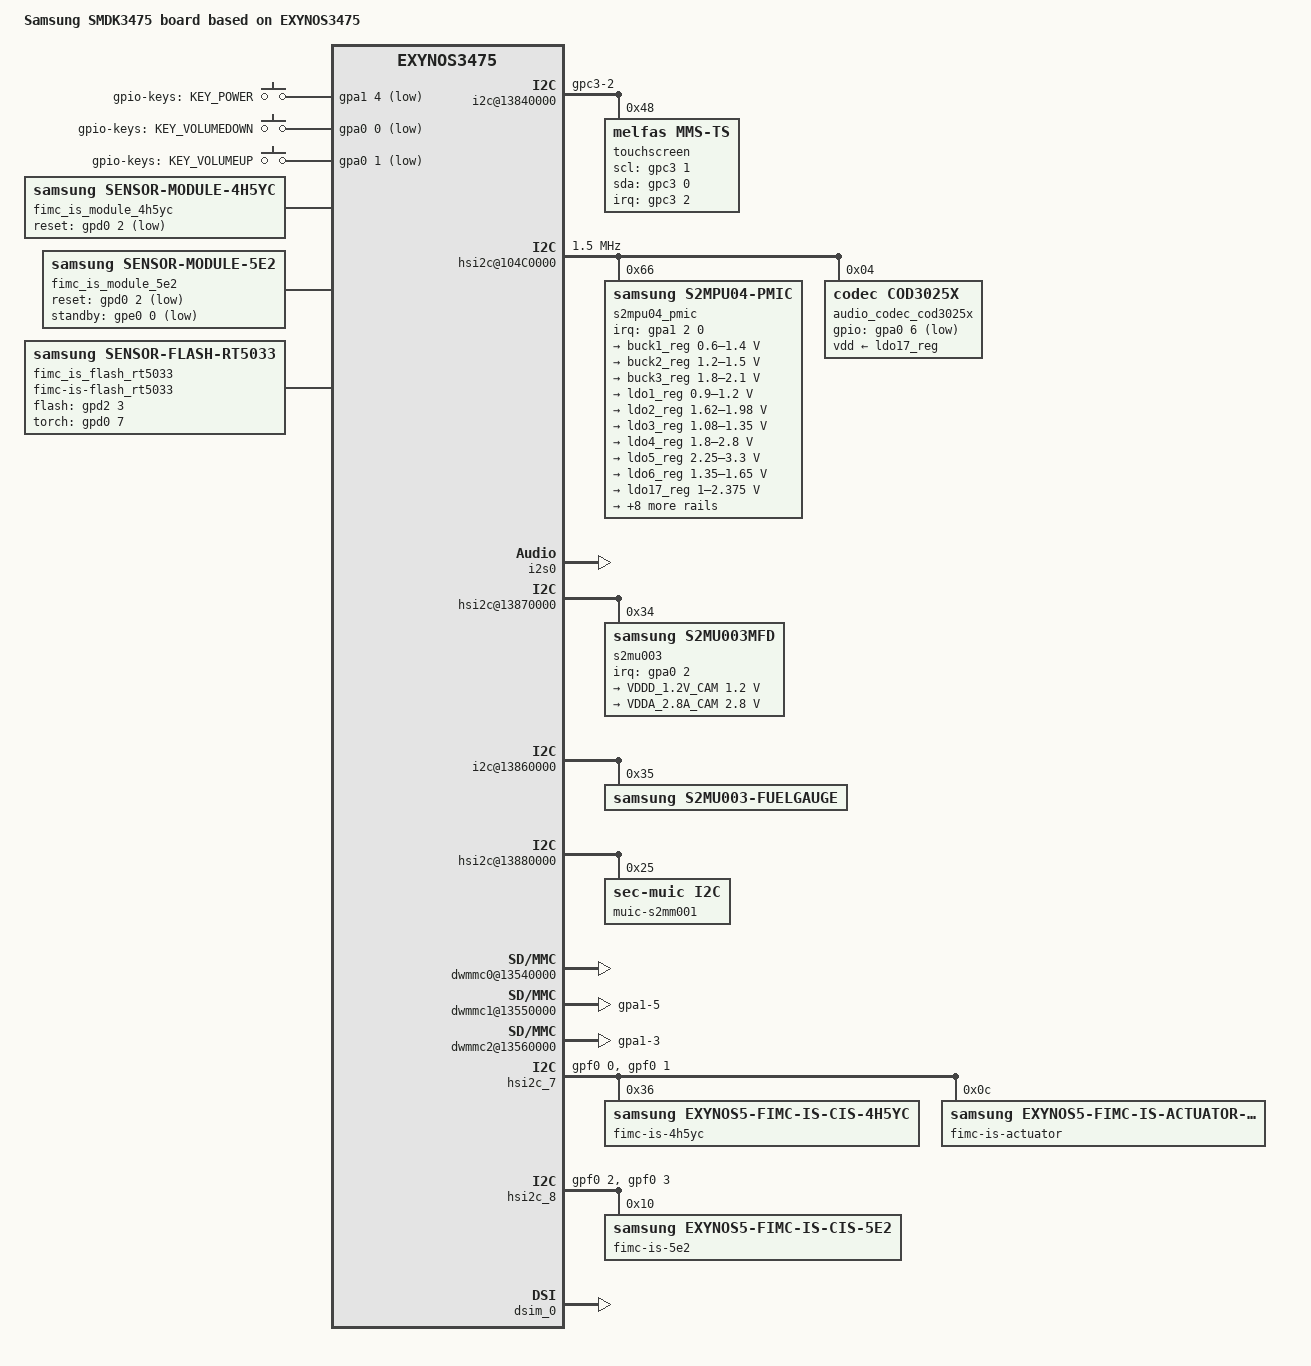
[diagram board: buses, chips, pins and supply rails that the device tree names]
/*
 * SAMSUNG EXYNOS3475 board device tree source
 *
 * Copyright (c) 2013 Samsung Electronics Co., Ltd.
 *		http://www.samsung.com
 *
 * This program is free software; you can redistribute it and/or modify
 * it under the terms of the GNU General Public License version 2 as
 * published by the Free Software Foundation.
*/

/dts-v1/;
#include "exynos3475.dtsi"

/ {
	model = "Samsung SMDK3475 board based on EXYNOS3475";
	compatible = "samsung,SMDK3475", "samsung,exynos3475";

	reserved-memory {
		#address-cells = <1>;
		#size-cells = <1>;
		ranges;

		common {
			compatible = "exynos5433-ion,common";
			reg = <0x4e700000 0x600000>;
			id = <0>;
		};

		video {
			compatible = "exynos5433-ion,video";
			secure;
			reusable;
			reg = <0x32000000 0x5800000>;
			id = <11>;
			compat-id = <4 5 6 7>;
		};

		video_ext {
			compatible = "exynos5433-ion,video_ext";
			secure;
			reusable;
			reg = <0x38000000 0x1400000>;
			id = <1>;
		};

		mfc_fw {
			compatible = "exynos5433-ion,mfc_fw";
			secure;
			reg = <0x30000000 0x200000>;
			id = <8>;
		};

		mfc_nfw {
			compatible = "exynos5433-ion,mfc_nfw";
			reg = <0x31000000 0x100000>;
			id = <12>;
		};
	};

	chosen {
		bootargs = "console=ttySAC2,115200 vmalloc=256M ess_setup=0x26000000";
	};

	fixed-rate-clocks {
		oscclk {
			compatible = "samsung,exynos3475-oscclk";
			clock-frequency = <26000000>;
		};
	};

	pinctrl@138D0000 {
		melfas_irq: melfas-irq {
			samsung,pins = "gpc3-2";
			samsung,pin-pud = <3>;
			samsung,pin-drv = <3>;
		};
	};

	i2c@13840000 {
		samsung,i2c-sda-delay = <100>;
		samsung,i2c-slave-addr = <0x10>;
		samsung,i2c-max-bus-freq = <400000>;
		pinctrl-0 = <&i2c4_bus &melfas_irq>;
		pinctrl-names = "default";
		status = "okay";

		touchscreen@48 {
			compatible = "melfas,mms-ts";

			reg = <0x48>;

			melfas,panel-coords = <0 0 720 1280>;
			melfas,i2c-pull-up; // optional: enable i2c pull-up
			melfas,scl-gpio = <&gpc3 1 0>;
			melfas,sda-gpio = <&gpc3 0 0>;
			melfas,irq-gpio = <&gpc3 2 0>;
		};
	};

	pinctrl@139B0000 {
		pmic_irq: pmic-irq {
			samsung,pins = "gpa1-2";
			samsung,pin-pud = <3>;
			samsung,pin-drv = <3>;
		};

		if_irq: if-irq {
			samsung,pins = "gpa0-2";
			samsung,pin-pud = <3>;
			samsung,pin-drv = <3>;
		};

		cod3025_irq: cod3025-irq {
			samsung,pins = "gpa0-6";
			samsung,pin-pud = <3>;
			samsung,pin-drv = <3>;
		};
	};

	pinctrl@139C0000 {
		/* Warm reset information from AP */
		pm_wrsti: pm-wrsti {
			samsung,pins = "gpd0-1";
			samsung,pin-con-pdn = <3>;
		};
	};

	hsi2c@104C0000 {
		status = "okay";
		samsung,hs-mode;
		clock-frequency = <1500000>;
		samsung,hsi2c-batcher;
		#address-cells = <1>;
		#size-cells = <0>;
		s2mpu04_pmic@66 {
			compatible = "samsung,s2mpu04-pmic";
			reg = <0x66>;
			ten-bit-address;
			interrupts = <2 0 0>;
			interrupt-parent = <&gpa1>;
			pinctrl-names = "default";
			pinctrl-0 = <&pmic_irq &pm_wrsti>;
			/* RTC: wtsr/smpl */
			wtsr_en = <1>; /* enable */
			smpl_en = <1>; /* enable */
			wtsr_timer_val = <3>;   /* 1000ms */
			smpl_timer_val = <4>;   /* 500ms */
			check_jigon = <0>; /* do not check jigon */
			/* RTC: If it's first boot, reset rtc to 1/1/2015 12:00:00(Wed) */
			init_time,sec = <0>;
			init_time,min = <0>;
			init_time,hour = <12>;
			init_time,mday = <1>;
			init_time,mon = <0>;
			init_time,year = <115>;
			init_time,wday = <4>;

			regulators {
				buck1_reg: BUCK1 {
					regulator-name = "vdd_core";
					regulator-min-microvolt = <600000>;
					regulator-max-microvolt = <1400000>;
					regulator-always-on;
					regulator-boot-on;
					regulator-ramp-delay = <12000>;
					regulator-initial-mode = <3>;
					regulator-expected-consumer = <4>;
				};

				buck2_reg: BUCK2 {
					regulator-name = "vdd_lldo";
					regulator-min-microvolt = <1200000>;
					regulator-max-microvolt = <1500000>;
					regulator-always-on;
					regulator-boot-on;
					regulator-ramp-delay = <12000>;
					regulator-initial-mode = <3>;
				};

				buck3_reg: BUCK3 {
					regulator-name = "vdd_mldo";
					regulator-min-microvolt = <1800000>;
					regulator-max-microvolt = <2100000>;
					regulator-always-on;
					regulator-boot-on;
					regulator-ramp-delay = <12000>;
					regulator-initial-mode = <3>;
				};

				ldo1_reg: LDO1 {
					regulator-name = "vdd_ldo1";
					regulator-min-microvolt = <900000>;
					regulator-max-microvolt = <1200000>;
					regulator-always-on;
					regulator-boot-on;
					regulator-initial-mode = <3>;
				};
				ldo2_reg: LDO2 {
					regulator-name = "vdd_ldo2";
					regulator-min-microvolt = <1620000>;
					regulator-max-microvolt = <1980000>;
					regulator-always-on;
					regulator-boot-on;
					regulator-initial-mode = <3>;
				};

				ldo3_reg: LDO3 {
					regulator-name = "vdd_ldo3";
					regulator-min-microvolt = <1080000>;
					regulator-max-microvolt = <1350000>;
					regulator-boot-on;
					regulator-always-on;
					regulator-initial-mode = <3>;
				};

				ldo4_reg: LDO4 {
					regulator-name = "vqmmc";
					regulator-min-microvolt = <1800000>;
					regulator-max-microvolt = <2800000>;
					regulator-boot-on;
					regulator-ramp-delay = <12000>;
					regulator-initial-mode = <1>;
				};

				ldo5_reg: LDO5 {
					regulator-name = "vdd_ldo5";
					regulator-min-microvolt = <2250000>;
					regulator-max-microvolt = <3300000>;
					regulator-boot-on;
					regulator-always-on;
					regulator-initial-mode = <3>;
				};

				ldo6_reg: LDO6 {
					regulator-name = "vdd_ldo6";
					regulator-min-microvolt = <1350000>;
					regulator-max-microvolt = <1650000>;
					regulator-initial-mode = <1>;
				};

				ldo17_reg: LDO17 {
					regulator-name = "vdd_ldo17";
					regulator-min-microvolt = <1000000>;
					regulator-max-microvolt = <2375000>;
					regulator-initial-mode = <1>;
				};

				ldo18_reg: LDO18 {
					regulator-name = "vdd_ldo18";
					regulator-min-microvolt = <1800000>;
					regulator-max-microvolt = <3375000>;
					regulator-always-on;
					regulator-boot-on;
					regulator-initial-mode = <1>;
				};

				ldo19_reg: LDO19 {
					regulator-name = "vdd_ldo19";
					regulator-min-microvolt = <1000000>;
					regulator-max-microvolt = <2375000>;
					regulator-always-on;
					regulator-boot-on;
					regulator-initial-mode = <1>;
				};

				ldo20_reg: LDO20 {
					regulator-name = "vdd_ldo20";
					regulator-min-microvolt = <1800000>;
					regulator-max-microvolt = <3375000>;
					regulator-always-on;
					regulator-boot-on;
					regulator-initial-mode = <1>;
				};

				ldo21_reg: LDO21 {
					regulator-name = "VDDIO_1.8V_CAM";
					regulator-min-microvolt = <1800000>;
					regulator-max-microvolt = <1800000>;
				};

				ldo22_reg: LDO22 {
					regulator-name = "VDDAF_2.8V_CAM";
					regulator-min-microvolt = <2800000>;
					regulator-max-microvolt = <2800000>;
				};

				ldo23_reg: LDO23 {
					regulator-name = "VDD_VTCAM_1V8";
					regulator-min-microvolt = <1800000>;
					regulator-max-microvolt = <1800000>;
					regulator-always-on;
					regulator-boot-on;
					regulator-initial-mode = <1>;
				};

				ldo24_reg: LDO24 {
					regulator-name = "codec_ldo24";
					regulator-min-microvolt = <1000000>;
					regulator-max-microvolt = <2375000>;
					regulator-boot-on;
					regulator-always-on;
					regulator-initial-mode = <1>;
				};

				ldo25_reg: LDO25 {
					regulator-name = "vdd_ldo25";
					regulator-min-microvolt = <1800000>;
					regulator-max-microvolt = <3375000>;
					regulator-initial-mode = <1>;
				};
			};
		};

		audio_codec_cod3025x: cod3025x@04 {
			compatible = "codec,cod3025x";
			reg = <0x04>;
			ten-bit-address;
			vdd-supply = <&ldo17_reg>;
			pinctrl-names = "default";
			pinctrl-0 = <&cod3025_irq>;
			interrupt-parent = <&gpa0>;
			gpios = <&gpa0 6 0xf>;
			mic-bias1-voltage = <3>;
			mic-bias2-voltage = <3>;
			mic-bias-ldo-voltage = <3>;
		};
	};

	s2803x: s2803x@148C0000 {
		pinctrl-names = "default", "idle";
		pinctrl-0 = <&i2s_pmic_bus>;
		pinctrl-1 = <&i2s_pmic_bus_idle>;
		bck-mcko-mode;
		status = "okay";
	};

	i2s0: i2s@148E0000 {
		status = "okay";
	};

	audio_cp_dummy: cp_dummy {
		compatible = "samsung,cp_dummy";
		status = "okay";
	};

	audio_bt_dummy: bt_dummy {
		compatible = "samsung,bt_dummy";
		status = "okay";
	};

	audio_codec_dummy: dummy-codec {
		compatible = "samsung,dummy-codec";
		status = "okay";
	};

	sound {
		compatible = "samsung,smdk3475-cod3025x";
		samsung,audio-cpu = <&i2s0	/* primary */
					&i2s0	/* secondary */
					&audio_cp_dummy
					&audio_bt_dummy>;
		samsung,audio-codec = <&audio_codec_cod3025x
					&audio_codec_cod3025x
					&audio_codec_cod3025x
					&audio_codec_dummy>;
		samsung,auxdev = <&s2803x>;
		status = "okay";
	};

	hsi2c@13870000 {
		status = "okay";
		s2mu003@34 {
			compatible = "samsung,s2mu003mfd";
			reg = <0x34>;
			pinctrl-names = "default";
			pinctrl-0 = <&if_irq>;
			s2mu003,irq-gpio = <&gpa0 2 0>;

			regulators {
				s2mu003-buck1 {
					regulator-name = "VDDD_1.2V_CAM";
					regulator-min-microvolt = <1200000>;
					regulator-max-microvolt = <1200000>;
				};
				s2mu003-ldo1 {
					regulator-name = "VDDA_2.8A_CAM";
					regulator-min-microvolt = <2800000>;
					regulator-max-microvolt = <2800000>;
				};
			};
		};

		leds {
			torch-gpio = <&gpd0 7 0>;
			flash-gpio = <&gpd2 3 0>;

			status = "okay";
			s2mu003-leds1 {
				ledname = "leds-sec1";
				id = <0>;
				brightness = <0x17>;
				timeout = <0x0>;
				max-brightness = <0x15>;
			};

			s2mu003-leds2 {
				ledname = "leds-sec2";
				id = <1>;
				brightness = <0x02>;
				timeout = <0x0>;
				max-brightness = <0xf>;
			};
		};
	};

	i2c@13860000 {
		status = "okay";
		samsung,i2c-sda-delay = <100>;
		samsung,i2c-max-bus-freq = <400000>;
		#address-cells = <1>;
		#size-cells = <0>;
		s2mu003-fuelgauge@35 {
			compatible = "samsung,s2mu003-fuelgauge";
			reg = <0x35>;
			fuelgauge,fuel_alert_soc = <1>;
			fuelgauge,capacity_max = <1000>;
			fuelgauge,capacity_max_margin = <30>;
			fuelgauge,capacity_min = <0>;
			fuelgauge,capacity_calculation_type = <28>;
			fuelgauge,repeated_fuelalert;
			fuelgauge,type_str = "SDI";
		};
	};

	battery {
		battery,charger_name = "sec-charger";
		battery,fuelgauge_name = "sec-fuelgauge";

		battery,input_current_limit = <1800 0 0 1000 460 900 1000 460 1000 0 820 1900 1000 0 0 400 700 1300 300 1000 1500 0 1667 1000 80 1800>;
		battery,fast_charging_current = <2100 0 0 1000 460 1200 1000 460 1200 0 1000 1600 1000 0 0 400 700 1300 300 1000 1500 0 3150 1000 80 1800>;
		battery,full_check_current_1st = <350 0 0 250 250 250 250 250 250 0 250 250 250 0 0 350 350 350 350 350 350 0 350 350 0 350>;
		battery,full_check_current_2nd = <3000 0 0 3000 3000 3000 3000 3000 3000 0 3000 3000 0 0 0 3000 3000 3000 3000 3000 3000 0 3000 3000 3000 3000>;

	};

	s2mu003-charger {
		status = "disable";
		compatible = "samsung,s2mu003-charger";
		battery,is_1MHz_switching = <1>;
		battery,is_fixed_switching = <1>;
		battery,chg_gpio_en = <0>;
		battery,chg_polarity_en = <0>;
		battery,chg_gpio_status = <0>;
		battery,chg_polarity_status = <0>;
		battery,chg_float_voltage = <4350>;
	};

	hsi2c@13880000 {
		status = "okay";
		muic-s2mm001@25 {
			compatible = "sec-muic,i2c";
			reg = <0x25>;
			pinctrl-names = "default";
			muic,muic_int = <&gpa0 4 0>;
		};
	};

	ion {
		compatible = "samsung,exynos5430-ion";
	};

	gpio_keys {
		compatible = "gpio-keys";
		#address-cells = <1>;
		#size-cells = <0>;
		button@1 {
			label = "gpio-keys: KEY_POWER";
			interrupts = <4 0 0>;
			interrupt-parent = <&gpa1>;
			linux,code = <116>;
			gpios = <&gpa1 4 0xf>;
			gpio-key,wakeup = <1>;
		};
		button@2 {
			label = "gpio-keys: KEY_VOLUMEDOWN";
			interrupts = <0 0 0>;
			interrupt-parent = <&gpa0>;
			linux,code = <114>;
			gpios = <&gpa0 0 0xf>;
		};
		button@3 {
			label = "gpio-keys: KEY_VOLUMEUP";
			interrupts = <1 0 0>;
			interrupt-parent = <&gpa0>;
			linux,code = <115>;
			gpios = <&gpa0 1 0xf>;
		};
	};

	dwmmc0@13540000 {
		status = "okay";
		num-slots = <1>;
		broken-cd;
		use-smu;
		fixed_volt;
		only_once_tune;
		clock-gate;
		enable-cclk-on-suspend;
		supports-highspeed;
		supports-hs200-mode;
		supports-ddr200-mode;
		supports-ddr200-enhanced-strobe;
		enable-ulp-mode;
		ulp-mux-sel-hs400;
		enable-cache-control;
		use-fine-tuning;
		extra_tuning;
		bypass-for-allpass;
		use-enable-shift;
		desc-size = <4>;
		fifo-depth = <0x40>;
		qos_int_level = <138000>;
		card-detect-delay = <200>;

		/* TXDT_CRC_TIMER_FASTLIMIT[23:16] */
		samsung,dw-mshc-txdt-crc-timer-fastlimit = <0x12>;
		/* TXDT_CRC_TIMER_INITVAL[15:8] */
		samsung,dw-mshc-txdt-crc-timer-initval = <0x14>;
		/* RCLK_DELAY_CTRL[9:0] */
		samsung,dw-mshc-ddr200-delay-line = <0x50>;

		/* For ULP data PATH */
		/* TXDT_CRC_TIMER_FASTLIMIT[23:16] */
		samsung,dw-mshc-ulp-txdt-crc-timer-fastlimit = <0x34>;
		/* TXDT_CRC_TIMER_INITVAL[15:8] */
		samsung,dw-mshc-ulp-txdt-crc-timer-initval = <0x38>;
		/* RCLK_DELAY_CTRL[9:0] */
		samsung,dw-mshc-ulp-ddr200-delay-line = <0x50>;

		samsung,dw-mshc-ciu-div = <3>;
		/* DICRATIO, drv_fine, drv, sample */
		samsung,dw-mshc-sdr-timing = <3 0 2 0>;
		samsung,dw-mshc-sdr-hs-timing = <3 0 2 1>;
		samsung,dw-mshc-ddr-timing = <3 0 4 2>;
		samsung,dw-mshc-hs200-timing = <3 0 3 0>;
		samsung,dw-mshc-ddr200-timing = <1 0 4 0>;
		samsung,dw-mshc-ddr200-ulp-timing = <3 0 4 0>;
		clk_pin = "gpr0-0";
		clk_addr = "13750000.pinctrl";
		clk_val = <0x2>;
		clk_str_num = <4>;
		num-ref-clks = <10>;
		ciu_clkin = <22 42 42 84 167 84 167 334 334 167>;

		pinctrl-names = "default";
		pinctrl-0 = <&sd0_clk &sd0_cmd &sd0_rdqs &sd0_bus1 &sd0_bus4 &sd0_bus8>;
		slot@0 {
			reg = <0>;
			bus-width = <8>;
		};
	};

	dwmmc1@13550000 {
		status = "okay";
		num-slots = <1>;
		cd-type-external;
		fixed_volt;
		clock-gate;
		enable-cclk-on-suspend;
		caps-control;
		supports-highspeed;
		supports-sdr104-mode;
		supports-highspeed;
		use-fine-tuning;
		bypass-for-allpass;
		fifo-depth = <0x40>;
		card-detect-delay = <200>;
		qos_int_level = <138000>;
		samsung,dw-mshc-ciu-div = <3>;
		samsung,dw-mshc-sdr-timing = <3 0 2 0>;
		samsung,dw-mshc-ddr-timing = <3 0 3 2>;
		clk_pin = "gpr2-0";
		clk_addr = "13750000.pinctrl";
		clk_val = <0x2>;
		clk_str_num = <4>;
		num-ref-clks = <8>;
		ciu_clkin = <22 42 42 84 167 84 167 334>; /* clk 666Mhz */
		pinctrl-names = "default";
		pinctrl-0 = <&sd1_clk &sd1_cmd &sd1_bus1 &sd1_bus4 &dwmmc1_cd_ext_irq &wifi_reg_on>;

		cd-gpio = <&gpa1 5 0xf>;
		slot@0 {
			reg = <0>;
			bus-width = <4>;
		};
	};

	dwmmc2@13560000 {
		status = "okay";
		num-slots = <1>;
		bypass-smu;
		clock-gate;
		enable-cclk-on-suspend;
		caps-control;
		supports-highspeed;
		supports-sdr104-mode;
		fix-fmp-size-mismatch;
		not-allow-single-dma;
		use-fine-tuning;
		desc-size = <4>;
		bypass-for-allpass;
		fifo-depth = <0x40>;
		card-detect-delay = <200>;
		qos_int_level = <138000>;
		samsung,dw-mshc-ciu-div = <3>;
		samsung,dw-mshc-sdr-timing = <3 0 2 0>;
		samsung,dw-mshc-ddr-timing = <3 0 3 2>;
		clk_pin = "gpr4-0";
		clk_addr = "13750000.pinctrl";
		clk_val = <0x2>;
		clk_str_num = <4>;
		num-ref-clks = <8>;
		ciu_clkin = <22 42 42 84 167 84 167 334>; /* clk 666Mhz */
		pinctrl-names = "default";
		pinctrl-0 = <&sd2_clk &sd2_cmd &sd2_bus1 &sd2_bus4 &dwmmc2_cd_ext_irq>;

		cd-gpio = <&gpa1 3 0xf>;
		slot@0 {
			reg = <0>;
			bus-width = <4>;
			disable-wp;
		};
	};

	pinctrl@139B0000 {
		dwmmc1_cd_ext_irq: dwmmc1_cd_ext_irq {
			   samsung,pins = "gpa1-5";
			   samsung,pin-function = <0xf>;
			   samsung,pin-pud = <1>;
			   samsung,pin-drv = <0>;
		};

		dwmmc2_cd_ext_irq: dwmmc2_cd_ext_irq {
			   samsung,pins = "gpa1-3";
			   samsung,pin-function = <0xf>;
			   samsung,pin-pud = <0>;
			   samsung,pin-drv = <0>;
		};
	};

	fimc_is_module_4h5yc: fimc-is_sensor_4h5yc@0 {
		compatible = "samsung,sensor-module-4h5yc";

		pinctrl-names = "pin0", "pin1";
		pinctrl-0 = <&fimc_is_mclk0_fn &fimc_is_flash>; /* rear on */
		pinctrl-1 = <&fimc_is_mclk0_in &fimc_is_flash>; /* rear off */

		position = <0>; /* Rear:0. Front:1 */
		id = <0>; /* bns_id */
		mclk_ch = <0>;
		sensor_i2c_ch = <0>; /* I2C 0 */
		sensor_i2c_addr = <0x2D>; /* need the i2c_addr modify */

		gpio_reset = <&gpd0 2 0x1>; /* sensor reset */
		status = "okay";

		af {
			product_name = <2>; /* ACTUATOR_NAME_DWXXXX (DW9714) */
			i2c_addr = <0x0C>;
			i2c_ch = <0>; /* I2C 0 */
		};

		flash {
			product_name = <8>; /* FLADRV_NAME_RT5033 */
			flash_first_gpio = <2>;
			flash_second_gpio = <1>;
		};
	};

	fimc_is_module_5e2: fimc-is_sensor_5e2@0 {
		compatible = "samsung,sensor-module-5e2";

		pinctrl-names = "pin0", "pin1";
		pinctrl-0 = <&fimc_is_mclk1_fn>; /* front on */
		pinctrl-1 = <&fimc_is_mclk1_in>; /* front off */

		position = <1>; /* Rear:0. Front:1 */
		id = <1>; /* bns_id */
		mclk_ch = <1>;
		sensor_i2c_ch = <1>;
		sensor_i2c_addr = <0x20>; /* need the i2c_addr modify */

		gpio_reset = <&gpd0 2 0x1>;
		gpio_standby = <&gpe0 0 0x1>;
		status = "okay";
	};

	fimc_is_flash_rt5033: fimc-is-flash_rt5033@0 {
		compatible = "samsung,sensor-flash-rt5033";
		id = <0>;  /* matching sensor id */
		status = "okay";

		flash-gpio = <&gpd2 3 0>;
		torch-gpio = <&gpd0 7 0>;
	};

	hsi2c_7: hsi2c@138A0000 {
		gpios = <&gpf0 0 0 &gpf0 1 0>;
		status = "okay";
		samsung,i2c-sda-delay = <100>;
		samsung,i2c-max-bus-freq = <400000>;

		pinctrl-names = "default";
		pinctrl-0 = <&hs_i2c7_bus>;

		fimc-is-4h5yc@20 {
			compatible = "samsung,exynos5-fimc-is-cis-4h5yc";
			reg = <0x36>;
			id = <0>; /* matching sensor id */
			setfile = "default";
		};

		fimc-is-actuator@0C {
			compatible = "samsung,exynos5-fimc-is-actuator-dw9714";
			reg = <0x0C>;
			id = <0>; /* matching sensor id */
		};
	};

	hsi2c_8: hsi2c@138B0000 {
		gpios = <&gpf0 2 0 &gpf0 3 0>;
		status = "okay";
		samsung,i2c-sda-delay = <100>;
		samsung,i2c-max-bus-freq = <400000>;

		pinctrl-names = "default";
		pinctrl-0 = <&hs_i2c8_bus>;

		fimc-is-5e2@20 {
			compatible = "samsung,exynos5-fimc-is-cis-5e2";
			reg = <0x10>;
			id = <1>; /* matching sensor id */
			setfile = "default";
		};
	};

	fimc_is_sensor0: fimc_is_sensor@14410000 {
		scenario = <0>;
		id = <0>;
		mclk_ch = <0>;
		csi_ch = <0>;
		flite_ch = <0>;
		i2c_ch = <0>;
		i2c_addr = <0x2D>; /* need the i2c_addr modify */
		is_bns = <0>;
		status = "okay";
	};

	fimc_is_sensor1: fimc_is_sensor@14411000 {
		scenario = <0>;
		id = <1>;
		mclk_ch = <1>;
		csi_ch = <0>;
		flite_ch = <0>;
		i2c_ch = <0>;
		i2c_addr = <0x2D>; /* need the i2c_addr modify */
		is_bns = <0>;
		status = "okay";
	};

	fimc_is@14400000 {
		rear_sensor_id = <13>;
		front_sensor_id = <17>;

		#define DVFS_INT_L0 334000
		#define DVFS_INT_L1 333000
		#define DVFS_INT_L2 276000
		#define DVFS_INT_L3 207000
		#define DVFS_INT_L4 138000
		#define DVFS_INT_L5 104000

		#define DVFS_CAM_L0 0

		#define DVFS_MIF_L0 666000
		#define DVFS_MIF_L1 559000
		#define DVFS_MIF_L2 413000
		#define DVFS_MIF_L3 338000
		#define DVFS_MIF_L4 273000
		#define DVFS_MIF_L5 200000

		fimc_is_dvfs {
			default_int = <DVFS_INT_L0>;
			default_cam = <DVFS_CAM_L0>;
			default_mif = <DVFS_MIF_L0>;
			default_i2c = <0>;

			front_preview_int = <DVFS_INT_L1>;
			front_preview_cam = <DVFS_CAM_L0>;
			front_preview_mif = <DVFS_MIF_L0>;
			front_preview_i2c = <0>;

			front_capture_int = <DVFS_INT_L1>;
			front_capture_cam = <DVFS_CAM_L0>;
			front_capture_mif = <DVFS_MIF_L0>;
			front_capture_i2c = <0>;

			front_video_int = <DVFS_INT_L1>;
			front_video_cam = <DVFS_CAM_L0>;
			front_video_mif = <DVFS_MIF_L0>;
			front_video_i2c = <0>;

			front_video_whd_int = <DVFS_INT_L0>;
			front_video_whd_cam = <DVFS_CAM_L0>;
			front_video_whd_mif = <DVFS_MIF_L0>;
			front_video_whd_i2c = <0>;

			front_video_capture_int = <DVFS_INT_L1>;
			front_video_capture_cam = <DVFS_CAM_L0>;
			front_video_capture_mif = <DVFS_MIF_L0>;
			front_video_capture_i2c = <0>;

			front_video_whd_capture_int = <DVFS_INT_L0>;
			front_video_whd_capture_cam = <DVFS_CAM_L0>;
			front_video_whd_capture_mif = <DVFS_MIF_L0>;
			front_video_whd_capture_i2c = <0>;

			front_vt1_int = <DVFS_INT_L1>;
			front_vt1_cam = <DVFS_CAM_L0>;
			front_vt1_mif = <DVFS_MIF_L0>;
			front_vt1_i2c = <0>;

			front_vt2_int = <DVFS_INT_L1>;
			front_vt2_cam = <DVFS_CAM_L0>;
			front_vt2_mif = <DVFS_MIF_L0>;
			front_vt2_i2c = <0>;

			rear_preview_fhd_int = <DVFS_INT_L0>;
			rear_preview_fhd_cam = <DVFS_CAM_L0>;
			rear_preview_fhd_mif = <DVFS_MIF_L0>;
			rear_preview_fhd_i2c = <0>;

			rear_preview_whd_int = <DVFS_INT_L0>;
			rear_preview_whd_cam = <DVFS_CAM_L0>;
			rear_preview_whd_mif = <DVFS_MIF_L0>;
			rear_preview_whd_i2c = <0>;

			rear_preview_uhd_int = <DVFS_INT_L0>;
			rear_preview_uhd_cam = <DVFS_CAM_L0>;
			rear_preview_uhd_mif = <DVFS_MIF_L0>;
			rear_preview_uhd_i2c = <0>;

			rear_capture_int = <DVFS_INT_L0>;
			rear_capture_cam = <DVFS_CAM_L0>;
			rear_capture_mif = <DVFS_MIF_L0>;
			rear_capture_i2c = <0>;

			rear_video_fhd_int = <DVFS_INT_L0>;
			rear_video_fhd_cam = <DVFS_CAM_L0>;
			rear_video_fhd_mif = <DVFS_MIF_L0>;
			rear_video_fhd_i2c = <0>;

			rear_video_uhd_int = <DVFS_INT_L0>;
			rear_video_uhd_cam = <DVFS_CAM_L0>;
			rear_video_uhd_mif = <DVFS_MIF_L0>;
			rear_video_uhd_i2c = <0>;
			rear_video_fhd_capture_int = <DVFS_INT_L0>;
			rear_video_fhd_capture_cam = <DVFS_CAM_L0>;
			rear_video_fhd_capture_mif = <DVFS_MIF_L0>;
			rear_video_fhd_capture_i2c = <0>;

			rear_video_uhd_capture_int = <DVFS_INT_L0>;
			rear_video_uhd_capture_cam = <DVFS_CAM_L0>;
			rear_video_uhd_capture_mif = <DVFS_MIF_L0>;
			rear_video_uhd_capture_i2c = <0>;

			dual_preview_int = <DVFS_INT_L0>;
			dual_preview_cam = <DVFS_CAM_L0>;
			dual_preview_mif = <DVFS_MIF_L0>;
			dual_preview_i2c = <0>;

			dual_capture_int = <DVFS_INT_L0>;
			dual_capture_cam = <DVFS_CAM_L0>;
			dual_capture_mif = <DVFS_MIF_L0>;
			dual_capture_i2c = <0>;

			dual_video_int = <DVFS_INT_L0>;
			dual_video_cam = <DVFS_CAM_L0>;
			dual_video_mif = <DVFS_MIF_L0>;
			dual_video_i2c = <0>;

			dual_video_capture_int = <DVFS_INT_L0>;
			dual_video_capture_cam = <DVFS_CAM_L0>;
			dual_video_capture_mif = <DVFS_MIF_L0>;
			dual_video_capture_i2c = <0>;

			preview_high_speed_fps_int = <DVFS_INT_L0>;
			preview_high_speed_fps_cam = <DVFS_CAM_L0>;
			preview_high_speed_fps_mif = <DVFS_MIF_L0>;
			preview_high_speed_fps_i2c = <0>;

			video_high_speed_fps_int = <DVFS_INT_L0>;
			video_high_speed_fps_cam = <DVFS_CAM_L0>;
			video_high_speed_fps_mif = <DVFS_MIF_L0>;
			video_high_speed_fps_i2c = <0>;

			max_int = <DVFS_INT_L0>;
			max_cam = <DVFS_CAM_L0>;
			max_mif = <DVFS_MIF_L0>;
			max_i2c = <0>;
		};
	};

	decon_fb@14830000 {
		/* addr, display frame(l,t,r,b), format */
		/* bootloader_fb = <0x90000000 0 900 1080 1020 0>; */
		/* XEINT7, GPIO & pin control */
		/* gpios = <&gpa0 7 0xf>; */
		/* disp-pll-clk = <284000000>; */
		status = "okay";
	};

	dsim_0: dsim@14800000 {
		lcd_info = <&s6e8aa0>;
		decon_board = <&decon_board_list>;
		/* lcd reset */
		/* gpios = <&gpd2 2 0x1>; */
		status = "okay";
		/* number of data lanes in use */
		data_lane_cnt = <4>;
	};

	decon_board_list: decon_board_list {
		dsim_set_panel_power_disable {
			type = "gpio,low", "delay,usleep";
			gpios = <&gpd2 2 0x1>;
			delay = <10000 11000>;
		};
		dsim_reset_panel {
			type = "gpio,high", "delay,usleep", "gpio,low", "delay,usleep", "gpio,high", "delay,usleep";
			gpios = <&gpd2 2 0x1>, <&gpd2 2 0x1>, <&gpd2 2 0x1>;
			delay = <5000 6000>, <5000 6000>, <10000 11000>;
		};
	};

	s6e8aa0: s6e8aa0_hd {
		panel_name = "s6e8aa0";
		resolution = <720 1280>;
		size = <71 114>;
		timing,refresh = <60>;
		/* HBP, HFP, HSA */
		timing,h-porch = <0x1E 0x1E 0xA>;
		/* VBP, VFP, VSA */
		timing,v-porch = <0x1 0xD 0x2>;
		timing,dsi-hs-clk = <500>;
		timing,dsi-escape-clk = <20>;
	};

	usb_notifier {
		compatible = "samsung,usb-notifier";
		udc = <&udc>;
	};
};
